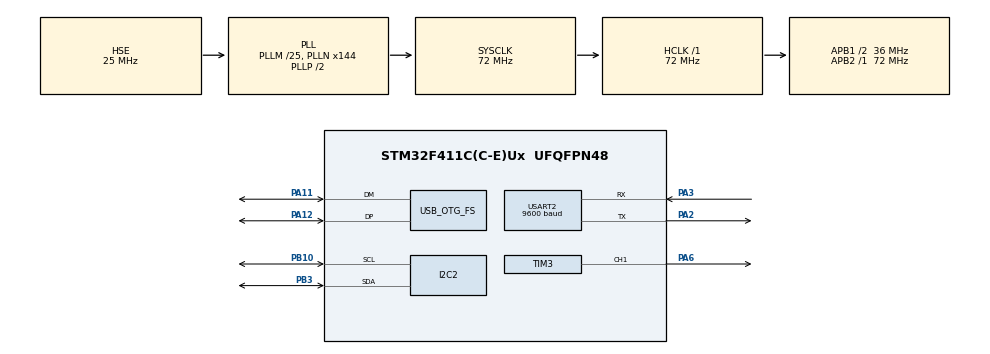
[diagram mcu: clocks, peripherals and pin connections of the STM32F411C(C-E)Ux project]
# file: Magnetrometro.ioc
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Mcu.Family=STM32F4
Mcu.Name=STM32F411C(C-E)Ux
Mcu.Package=UFQFPN48
NVIC.OTG_FS_IRQn=true\:0\:0\:false\:false\:true\:false\:true\:true
NVIC.PriorityGroup=NVIC_PRIORITYGROUP_4
PA11.Mode=Device_Only
PA11.Signal=USB_OTG_FS_DM
PA12.Mode=Device_Only
PA12.Signal=USB_OTG_FS_DP
PA2.Mode=Asynchronous
PA2.Signal=USART2_TX
PA3.Mode=Asynchronous
PA3.Signal=USART2_RX
PA6.Signal=S_TIM3_CH1
PB10.Mode=I2C
PB10.Signal=I2C2_SCL
PB3.Mode=I2C
PB3.Signal=I2C2_SDA
PH0\ -\ OSC_IN.Mode=HSE-External-Oscillator
PH0\ -\ OSC_IN.Signal=RCC_OSC_IN
PH1\ -\ OSC_OUT.Mode=HSE-External-Oscillator
PH1\ -\ OSC_OUT.Signal=RCC_OSC_OUT
ProjectManager.HeapSize=0x200
ProjectManager.StackSize=0x400
ProjectManager.TargetToolchain=STM32CubeIDE
RCC.48MHZClocksFreq_Value=48000000
RCC.AHBFreq_Value=72000000
RCC.APB1CLKDivider=RCC_HCLK_DIV2
RCC.APB1Freq_Value=36000000
RCC.APB1TimFreq_Value=72000000
RCC.APB2Freq_Value=72000000
RCC.APB2TimFreq_Value=72000000
RCC.CortexFreq_Value=72000000
RCC.HCLKFreq_Value=72000000
RCC.HSE_VALUE=25000000
RCC.HSI_VALUE=16000000
RCC.LSE_VALUE=32768
RCC.PLLM=25
RCC.PLLN=144
RCC.PLLQ=3
RCC.SYSCLKFreq_VALUE=72000000
RCC.SYSCLKSource=RCC_SYSCLKSOURCE_PLLCLK
RCC.VCOOutputFreq_Value=144000000
SH.S_TIM3_CH1.0=TIM3_CH1,PWM Generation1 CH1
TIM3.Channel-PWM\ Generation1\ CH1=TIM_CHANNEL_1
TIM3.Period=20000
TIM3.Prescaler=72-1
TIM3.Pulse-PWM\ Generation1\ CH1=500
USART2.BaudRate=9600
USART2.VirtualMode=VM_ASYNC
USB_DEVICE.CLASS_NAME_FS=CDC
USB_DEVICE.VirtualMode=Cdc
USB_DEVICE.VirtualModeFS=Cdc_FS
USB_OTG_FS.VirtualMode=Device_Only
VP_TIM3_VS_ClockSourceINT.Mode=Internal
VP_USB_DEVICE_VS_USB_DEVICE_CDC_FS.Mode=CDC_FS
board=custom

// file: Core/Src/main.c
/* USER CODE BEGIN Header */
/**
  ******************************************************************************
  * @file           : main.c
  * @brief          : Main program body
  ******************************************************************************
  * @attention
  *
  * Copyright (c) 2024 STMicroelectronics.
  * All rights reserved.
  *
  * This software is licensed under terms that can be found in the LICENSE file
  * in the root directory of this software component.
  * If no LICENSE file comes with this software, it is provided AS-IS.
  *
  ******************************************************************************
  */
/* USER CODE END Header */
#include "main.h"
#include "usb_device.h"

/* USER CODE BEGIN Includes */
#include "stdio.h"
#include "usbd_cdc_if.h"
#include "usb_device.h"
#include "math.h"
/* USER CODE END Includes */

/* USER CODE BEGIN PD */
uint8_t QMC5883L_ADDR = 0x0D << 1;
int16_t x_offset = 0, y_offset = 0; // Offset de calibración
int16_t x, y, z;
char buffer[64];
float angulo;
/* USER CODE END PD */

I2C_HandleTypeDef hi2c2;

TIM_HandleTypeDef htim3;

UART_HandleTypeDef huart2;

void SystemClock_Config(void);
static void MX_GPIO_Init(void);
static void MX_USART2_UART_Init(void);
static void MX_TIM3_Init(void);
static void MX_I2C2_Init(void);

/* USER CODE BEGIN 0 */
// Función para inicializar el sensor QMC5883L
void QMC5883L_Init() {
    uint8_t data[2];
    data[0] = 0x0B; // Registro de configuración 2
    data[1] = 0x01; // Reinicio de software
    HAL_I2C_Master_Transmit(&hi2c2, QMC5883L_ADDR, data, 2, HAL_MAX_DELAY);

    data[0] = 0x09; // Registro de control
    data[1] = 0x1D; // Configuración (ODR = 50Hz, RNG = 2G, OSR = 512)
    HAL_I2C_Master_Transmit(&hi2c2, QMC5883L_ADDR, data, 2, HAL_MAX_DELAY);
}
// Función para leer los datos de los ejes X, Y, Z
void QMC5883L_Read(int16_t *x, int16_t *y, int16_t *z, float *angulo) {
    uint8_t data[6];
    HAL_I2C_Mem_Read(&hi2c2, QMC5883L_ADDR, 0x00, I2C_MEMADD_SIZE_8BIT, data, 6, HAL_MAX_DELAY);

    *x = (int16_t)((data[1] << 8) | data[0]) - x_offset;
    *y = (int16_t)((data[3] << 8) | data[2]) - y_offset;
    *z = (int16_t)((data[5] << 8) | data[4]);

    // Calcular el ángulo en grados
    *angulo = atan2((float)*y, (float)*x) * (180.0 / M_PI);
    if (*angulo < 0) {
        *angulo += 360.0;  // Ajuste para obtener el ángulo en [0, 360] grados
    }
}
void Calibrate_Sensor() {
    int16_t x_min = 32767, x_max = -32768;
    int16_t y_min = 32767, y_max = -32768;

    uint32_t calibration_duration = HAL_GetTick() + 10000; // 10 segundos de calibración
    char buffer[64];

    snprintf(buffer, sizeof(buffer), "Calibrando... Gire el sensor 360 grados\r\n");
    HAL_UART_Transmit(&huart2, (uint8_t*)buffer, strlen(buffer), HAL_MAX_DELAY);

    while (HAL_GetTick() < calibration_duration) {
        QMC5883L_Read(&x, &y, &z, NULL);

        if (x < x_min) x_min = x;
        if (x > x_max) x_max = x;
        if (y < y_min) y_min = y;
        if (y > y_max) y_max = y;

        HAL_Delay(100); // Esperar antes de la siguiente lectura
    }

    // Calcular los offsets para centrar en cero
    x_offset = (x_max + x_min) / 2;
    y_offset = (y_max + y_min) / 2;

    snprintf(buffer, sizeof(buffer), "Calibracion completa.\r\n");
    HAL_UART_Transmit(&huart2, (uint8_t*)buffer, strlen(buffer), HAL_MAX_DELAY);
}
/* USER CODE END 0 */

int main(void)
{

  /* MCU Configuration--------------------------------------------------------*/

  /* Reset of all peripherals, Initializes the Flash interface and the Systick. */
  HAL_Init();

  /* Configure the system clock */
  SystemClock_Config();

  /* Initialize all configured peripherals */
  MX_GPIO_Init();
  MX_USB_DEVICE_Init();
  MX_USART2_UART_Init();
  MX_TIM3_Init();
  MX_I2C2_Init();
  /* USER CODE BEGIN 2 */
  QMC5883L_Init();
  Calibrate_Sensor(); // Llamar a la función de calibración al inicio

  /* USER CODE END 2 */

  /* Infinite loop */
  while (1)
  {
		int16_t x, y, z;
		float angulo;
		char buffer[64];
		QMC5883L_Read(&x, &y, &z, &angulo);

		snprintf(buffer, sizeof(buffer), "x: %d, y: %d, z: %d, angulo: %.2f grados\r\n", x, y, z, angulo);
		HAL_UART_Transmit(&huart2, (uint8_t*)buffer, strlen(buffer), HAL_MAX_DELAY);

		HAL_Delay(500);
  }
}

void SystemClock_Config(void)
{
  RCC_OscInitTypeDef RCC_OscInitStruct = {0};
  RCC_ClkInitTypeDef RCC_ClkInitStruct = {0};

  /** Configure the main internal regulator output voltage
  */
  __HAL_RCC_PWR_CLK_ENABLE();
  __HAL_PWR_VOLTAGESCALING_CONFIG(PWR_REGULATOR_VOLTAGE_SCALE1);

  /** Initializes the RCC Oscillators according to the specified parameters
  * in the RCC_OscInitTypeDef structure.
  */
  RCC_OscInitStruct.OscillatorType = RCC_OSCILLATORTYPE_HSE;
  RCC_OscInitStruct.HSEState = RCC_HSE_ON;
  RCC_OscInitStruct.PLL.PLLState = RCC_PLL_ON;
  RCC_OscInitStruct.PLL.PLLSource = RCC_PLLSOURCE_HSE;
  RCC_OscInitStruct.PLL.PLLM = 25;
  RCC_OscInitStruct.PLL.PLLN = 144;
  RCC_OscInitStruct.PLL.PLLP = RCC_PLLP_DIV2;
  RCC_OscInitStruct.PLL.PLLQ = 3;
  if (HAL_RCC_OscConfig(&RCC_OscInitStruct) != HAL_OK)
  {
    Error_Handler();
  }

  /** Initializes the CPU, AHB and APB buses clocks
  */
  RCC_ClkInitStruct.ClockType = RCC_CLOCKTYPE_HCLK|RCC_CLOCKTYPE_SYSCLK
                              |RCC_CLOCKTYPE_PCLK1|RCC_CLOCKTYPE_PCLK2;
  RCC_ClkInitStruct.SYSCLKSource = RCC_SYSCLKSOURCE_PLLCLK;
  RCC_ClkInitStruct.AHBCLKDivider = RCC_SYSCLK_DIV1;
  RCC_ClkInitStruct.APB1CLKDivider = RCC_HCLK_DIV2;
  RCC_ClkInitStruct.APB2CLKDivider = RCC_HCLK_DIV1;

  if (HAL_RCC_ClockConfig(&RCC_ClkInitStruct, FLASH_LATENCY_2) != HAL_OK)
  {
    Error_Handler();
  }
}

static void MX_I2C2_Init(void)
{

  hi2c2.Instance = I2C2;
  hi2c2.Init.ClockSpeed = 100000;
  hi2c2.Init.DutyCycle = I2C_DUTYCYCLE_2;
  hi2c2.Init.OwnAddress1 = 0;
  hi2c2.Init.AddressingMode = I2C_ADDRESSINGMODE_7BIT;
  hi2c2.Init.DualAddressMode = I2C_DUALADDRESS_DISABLE;
  hi2c2.Init.OwnAddress2 = 0;
  hi2c2.Init.GeneralCallMode = I2C_GENERALCALL_DISABLE;
  hi2c2.Init.NoStretchMode = I2C_NOSTRETCH_DISABLE;
  if (HAL_I2C_Init(&hi2c2) != HAL_OK)
  {
    Error_Handler();
  }

}

static void MX_TIM3_Init(void)
{

  TIM_ClockConfigTypeDef sClockSourceConfig = {0};
  TIM_MasterConfigTypeDef sMasterConfig = {0};
  TIM_OC_InitTypeDef sConfigOC = {0};

  htim3.Instance = TIM3;
  htim3.Init.Prescaler = 72-1;
  htim3.Init.CounterMode = TIM_COUNTERMODE_UP;
  htim3.Init.Period = 20000;
  htim3.Init.ClockDivision = TIM_CLOCKDIVISION_DIV1;
  htim3.Init.AutoReloadPreload = TIM_AUTORELOAD_PRELOAD_DISABLE;
  if (HAL_TIM_Base_Init(&htim3) != HAL_OK)
  {
    Error_Handler();
  }
  sClockSourceConfig.ClockSource = TIM_CLOCKSOURCE_INTERNAL;
  if (HAL_TIM_ConfigClockSource(&htim3, &sClockSourceConfig) != HAL_OK)
  {
    Error_Handler();
  }
  if (HAL_TIM_PWM_Init(&htim3) != HAL_OK)
  {
    Error_Handler();
  }
  sMasterConfig.MasterOutputTrigger = TIM_TRGO_RESET;
  sMasterConfig.MasterSlaveMode = TIM_MASTERSLAVEMODE_DISABLE;
  if (HAL_TIMEx_MasterConfigSynchronization(&htim3, &sMasterConfig) != HAL_OK)
  {
    Error_Handler();
  }
  sConfigOC.OCMode = TIM_OCMODE_PWM1;
  sConfigOC.Pulse = 500;
  sConfigOC.OCPolarity = TIM_OCPOLARITY_HIGH;
  sConfigOC.OCFastMode = TIM_OCFAST_DISABLE;
  if (HAL_TIM_PWM_ConfigChannel(&htim3, &sConfigOC, TIM_CHANNEL_1) != HAL_OK)
  {
    Error_Handler();
  }
  HAL_TIM_MspPostInit(&htim3);

}

static void MX_USART2_UART_Init(void)
{

  huart2.Instance = USART2;
  huart2.Init.BaudRate = 9600;
  huart2.Init.WordLength = UART_WORDLENGTH_8B;
  huart2.Init.StopBits = UART_STOPBITS_1;
  huart2.Init.Parity = UART_PARITY_NONE;
  huart2.Init.Mode = UART_MODE_TX_RX;
  huart2.Init.HwFlowCtl = UART_HWCONTROL_NONE;
  huart2.Init.OverSampling = UART_OVERSAMPLING_16;
  if (HAL_UART_Init(&huart2) != HAL_OK)
  {
    Error_Handler();
  }

}

static void MX_GPIO_Init(void)
{

  /* GPIO Ports Clock Enable */
  __HAL_RCC_GPIOH_CLK_ENABLE();
  __HAL_RCC_GPIOA_CLK_ENABLE();
  __HAL_RCC_GPIOB_CLK_ENABLE();

}

void Error_Handler(void)
{
  __disable_irq();
  while (1)
  {
  }
}
